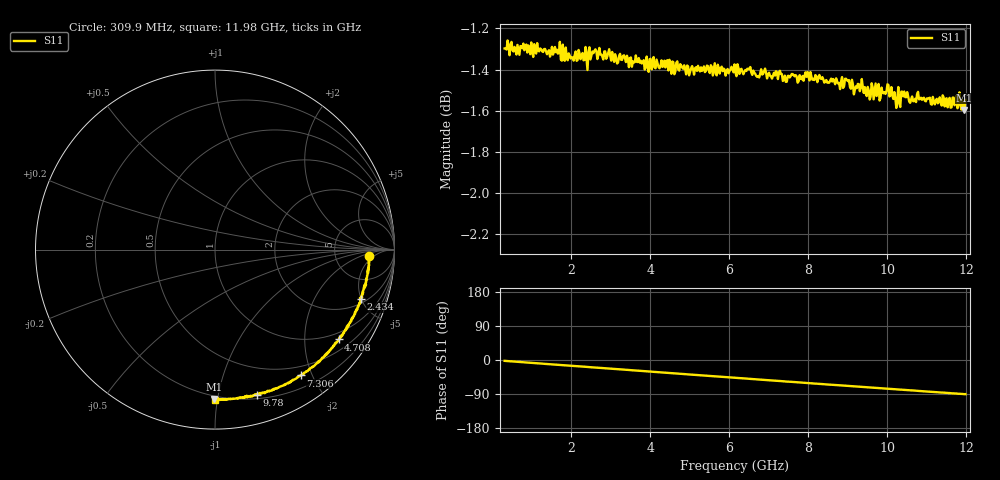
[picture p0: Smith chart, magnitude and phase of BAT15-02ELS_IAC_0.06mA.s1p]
! Infineon Technologies  Discrete & RF Semiconductors
! BAT15-02ELS
! IAC = 0.06 mA
! One-Port S-Parameters
# Hz  S  MA  R  50
!f  S11
!Hz  Mag  Ang
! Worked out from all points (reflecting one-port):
!   468 points, 309.9 MHz to 11.98 GHz, reference 50 ohm
!   lowest |S11| = -1.6 dB at 11.95 GHz (marker M1), VSWR 10.91, Z = 9.06 - j49 ohm
!   phase of S11 starts at -2 deg and turns -88 deg over the sweep
!   S11 on the Smith chart (normalised r, x): 309.9 MHz: 13, -3; 2.434 GHz: 2.37, -5.00; 4.708 GHz: 0.79, -2.88; 7.306 GHz: 0.37, -1.84; 9.78 GHz: 0.23, -1.30; 11.98 GHz: 0.18, -0.98
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3.0985e8  0.8612 -2.2
7.59625e8  0.8613 -5.7
1.184412e9  0.8598 -9.0
1.659175e9  0.8588 -12.7
1.784112e9  0.8631 -13.6
2.233888e9  0.8561 -17.0
2.433788e9  0.8599 -18.7
2.583712e9  0.86 -19.8
3.233388e9  0.8587 -24.6
4.032988e9  0.8512 -30.9
4.70765e9  0.8512 -36.0
5.482262e9  0.8507 -41.9
6.156925e9  0.8497 -47.0
6.856575e9  0.8491 -52.3
7.30635e9  0.849 -55.7
7.4063e9  0.8482 -56.5
7.6062e9  0.849 -57.9
7.781112e9  0.8485 -59.3
8.230888e9  0.8451 -62.8
9.080462e9  0.842 -69.0
9.780112e9  0.8443 -74.1
1.005498e10  0.8384 -76.3
1.027986e10  0.8428 -77.7
1.04048e10  0.8385 -78.8
1.052974e10  0.8385 -79.7
1.145428e10  0.8338 -86.5
1.195402e10  0.832 -90.2
1.197901e10  0.8369 -90.1
